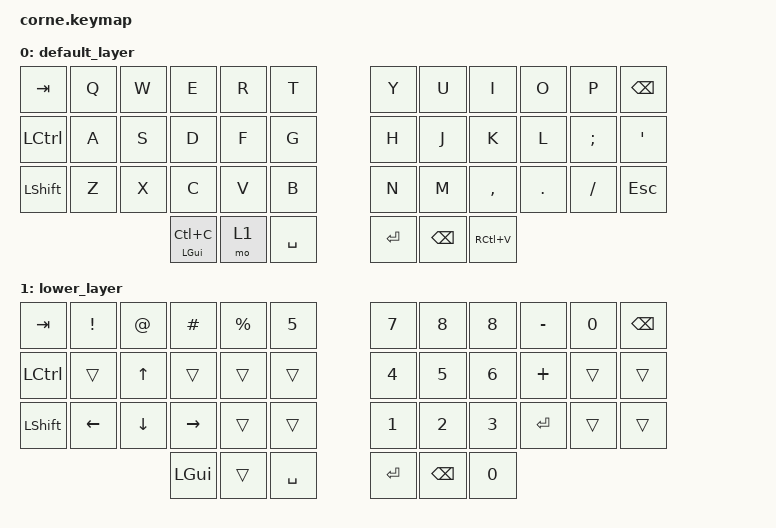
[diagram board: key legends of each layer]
/*
 * Copyright (c) 2020 The ZMK Contributors
 *
 * SPDX-License-Identifier: MIT
 */

#include <behaviors.dtsi>
#include <dt-bindings/zmk/keys.h>

/ {
    keymap {
        compatible = "zmk,keymap";

        default_layer {
            // -----------------------------------------------------------------------------------------
            // |  TAB |  Q  |  W  |  E  |  R  |  T  |   |  Y  |  U   |  I  |  O  |  P  | BSPC |
            // | CTRL |  A  |  S  |  D  |  F  |  G  |   |  H  |  J   |  K  |  L  |  ;  |  '   |
            // | SHFT |  Z  |  X  |  C  |  V  |  B  |   |  N  |  M   |  ,  |  .  |  /  | ESC  |
            //                    | GUI | LWR | SPC |   | ENT | RSE  | ALT |

            bindings = <
&kp TAB    &kp Q  &kp W  &kp E               &kp R  &kp T        &kp Y    &kp U          &kp I      &kp O    &kp P     &kp BSPC
&kp LCTRL  &kp A  &kp S  &kp D               &kp F  &kp G        &kp H    &kp J          &kp K      &kp L    &kp SEMI  &kp SQT
&kp LSHFT  &kp Z  &kp X  &kp C               &kp V  &kp B        &kp N    &kp M          &kp COMMA  &kp DOT  &kp FSLH  &kp ESC
                         &mt LEFT_GUI LC(C)  &mo 1  &kp SPACE    &kp RET  &kp BACKSPACE  &kp RC(V)
            >;
        };

        lower_layer {
            // -----------------------------------------------------------------------------------------
            // |  TAB |  1  |  2  |  3  |  4  |  5  |   |  6  |  7  |  8  |  9  |  0  | BSPC |
            // | BTCLR| BT1 | BT2 | BT3 | BT4 | BT5 |   | LFT | DWN |  UP | RGT |     |      |
            // | SHFT |     |     |     |     |     |   |     |     |     |     |     |      |
            //                    | GUI |     | SPC |   | ENT |     | ALT |

            bindings = <
&kp TAB    &kp EXCLAMATION  &kp AT_SIGN   &kp HASH   &kp PERCENT  &kp N5       &kp N7        &kp N8         &kp N8        &kp MINUS  &kp N0  &kp BSPC
&kp LCTRL  &trans           &kp UP_ARROW  &trans     &trans       &trans       &kp NUMBER_4  &kp N5         &kp NUMBER_6  &kp PLUS   &trans  &trans
&kp LSHFT  &kp LEFT         &kp DOWN      &kp RIGHT  &trans       &trans       &kp NUMBER_1  &kp NUMBER_2   &kp NUMBER_3  &kp ENTER  &trans  &trans
                                          &kp LGUI   &trans       &kp SPACE    &kp RET       &kp BACKSPACE  &kp N0
            >;
        };
    };
};
